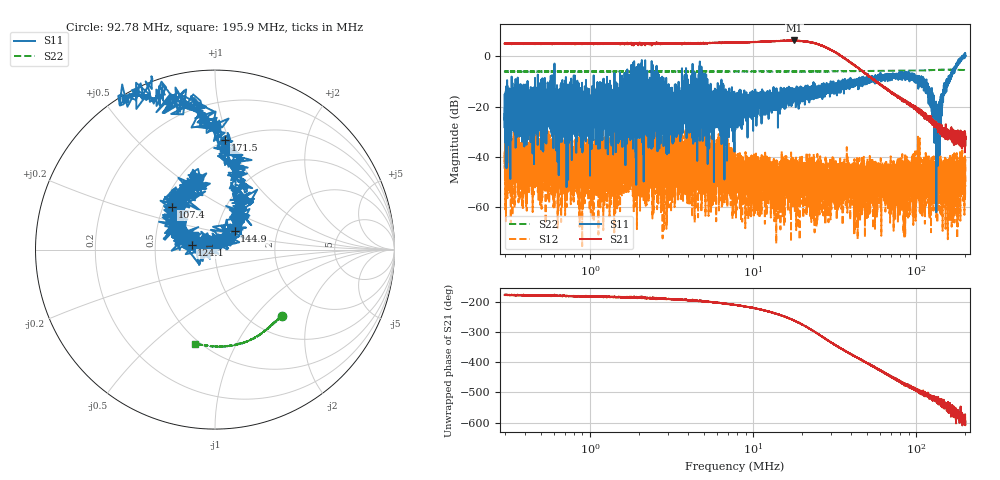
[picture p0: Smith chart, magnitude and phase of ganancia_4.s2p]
# Hz S DB R 50
! CMT, M5065, 19127446, 24.2.4/2
! Date: 11/1/2024 3:06:08 PM
! Data: Format (Calibration Info)
! Freq	S11:dB/Ang(F2)	S21:dB/Ang(F2)	S12:dB/Ang(F2)	S22:dB/Ang(F2)
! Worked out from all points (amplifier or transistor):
!   9000 points, 300 kHz to 200 MHz, reference 50 ohm
!   highest |S21| = 6.4 dB at 17.92 MHz (marker M1)
!   |S21| within 3 dB of that: start of sweep to 28.31 MHz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
!   unconditionally stable (mu >= 1): start of sweep to 191.3 MHz; 191.8981 MHz to 192.6573 MHz; 192.8711 MHz to 193.496 MHz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
!   at 886.8 kHz: K = 23.16, MAG = 6.3 dB, |S12| = -40.9 dB
!   at 7.749 MHz: K = 84.23, MAG = 6.8 dB, |S12| = -52.6 dB
!   at 200 MHz: K = -364.65, MSG = 9.5 dB, |S12| = -52.0 dB
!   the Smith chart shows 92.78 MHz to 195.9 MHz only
!   S11 on the Smith chart (normalised r, x): 92.78 MHz: 0.62, +0.59; 107.4 MHz: 0.56, +0.30; 124.1 MHz: 0.77, +0.04; 144.9 MHz: 1.22, +0.26; 171.5 MHz: 0.49, +0.97; 195.9 MHz: 0.02, +0.57
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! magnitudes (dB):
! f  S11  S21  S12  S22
! 300 kHz  -22.9  5.1  -38.3  -6.0
! 319.9 kHz  -18.9  5.1  -38.3  -6.0
! 886.8 kHz  -22.3  5.1  -40.9  -6.0
! 1.299 MHz  -22.6  5.1  -55.3  -6.0
! 1.764 MHz  -20.9  5.0  -38.9  -6.0
! 1.944 MHz  -31.7  5.0  -36.5  -6.1
! 2.241 MHz  -21.6  5.1  -37.4  -6.0
! 2.621 MHz  -23.7  5.1  -53.1  -6.0
! 3.009 MHz  -16.5  5.0  -38.0  -6.0
! 4.673 MHz  -22.0  5.2  -50.7  -6.0
! 7.749 MHz  -28.7  5.5  -52.6  -6.0
! 17.92 MHz  -15.7  6.4  -49.8  -6.0
! 22.91 MHz  -14.8  5.5  -45.4  -6.0
! 67.71 MHz  -8.8  -13.7  -48.8  -5.7
! 92.78 MHz  -7.8  -19.6  -50.5  -5.6
! 107.4 MHz  -9.4  -22.6  -44.5  -5.6
! 124.1 MHz  -17.5  -26.7  -40.4  -5.5
! 134.7 MHz  -32.1  -28.9  -51.9  -5.4
! 144.9 MHz  -16.5  -29.3  -48.6  -5.3
! 171.5 MHz  -4.2  -32.5  -48.0  -5.4
! 195.9 MHz  -0.2  -32.8  -45.4  -5.4
! 200 MHz  0.2  -32.9  -52.0  -5.4
